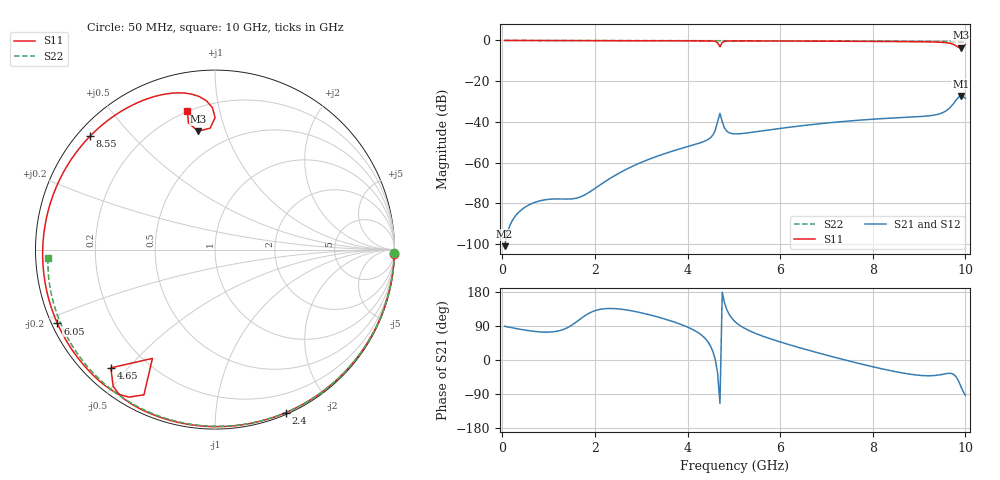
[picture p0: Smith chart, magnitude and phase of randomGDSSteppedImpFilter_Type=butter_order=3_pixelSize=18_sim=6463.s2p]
! freq	dB(S11)	phase(S11)	dB(S12)	phase(S12)
!  dB(S21)	phase(S21)	dB(S22)	phase(S22)
!S-par simulation data
#  GHz  S  DB  R 50
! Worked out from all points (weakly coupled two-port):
!   200 points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, 50 MHz to 10 GHz, reference 50 ohm
!   highest |S21| = -27.32 dB at 9.9 GHz (marker M1); lowest = -101.1 dB at 50 MHz (marker M2)
!   lowest |S11| = -3.5 dB at 9.9 GHz (marker M3), VSWR 5.00, Z = 17 + j40.4 ohm
!   |S11| at or under -10 dB: nowhere
!   |S22| runs from -0.6 to 0.0 dB; largest |S21 - S12| = 0
!   S11 on the Smith chart (normalised r, x): 50 MHz: 0, -79; 2.4 GHz: 0.02, -1.53; 4.65 GHz: 0.08, -0.45; 6.05 GHz: 0.02, -0.22; 8.55 GHz: 0.04, +0.39; 10 GHz: 0.20, +0.80
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0.05  -0.00 -1.4  -101.06 88.9  -101.06 88.9  -0.00 -1.0
0.65  -0.03 -18.5  -80.00 76.1  -80.00 76.1  -0.02 -13.1
0.85  -0.03 -24.2  -78.59 73.9  -78.59 73.9  -0.02 -17.1
1.75  -0.06 -49.1  -76.22 114.0  -76.22 114.0  -0.04 -34.8
2.4  -0.08 -66.5  -66.76 135.8  -66.76 135.8  -0.06 -47.3
3.4  -0.12 -92.2  -56.42 112.0  -56.42 112.0  -0.09 -65.9
4.45  -0.21 -119.7  -48.55 46.3  -48.55 46.3  -0.12 -84.6
4.55  -0.29 -123.7  -46.35 21.7  -46.35 21.7  -0.13 -86.3
4.65  -1.13 -131.4  -39.73 -35.1  -39.73 -35.1  -0.13 -88.1
4.7  -3.11 -119.9  -35.79 -114.4  -35.79 -114.4  -0.14 -88.9
4.75  -0.91 -116.1  -40.02 179.1  -40.02 179.1  -0.14 -89.7
4.85  -0.31 -123.0  -44.61 132.3  -44.61 132.3  -0.14 -91.5
5.05  -0.22 -129.8  -45.89 98.5  -45.89 98.5  -0.15 -94.9
6.05  -0.27 -154.9  -43.06 45.8  -43.06 45.8  -0.20 -111.6
6.7  -0.32 -171.0  -41.28 22.8  -41.28 22.8  -0.24 -122.2
7.55  -0.41 166.9  -39.44 -4.6  -39.44 -4.6  -0.31 -136.0
8.35  -0.51 143.9  -38.20 -27.3  -38.20 -27.3  -0.38 -149.1
8.55  -0.54 137.7  -37.96 -32.2  -37.96 -32.2  -0.40 -152.4
9.45  -0.87 105.5  -36.00 -39.1  -36.00 -39.1  -0.51 -167.6
9.75  -2.03 91.0  -30.81 -38.3  -30.81 -38.3  -0.57 -172.8
9.9  -3.52 98.2  -27.32 -69.1  -27.32 -69.1  -0.59 -175.4
10  -2.07 101.2  -28.37 -93.4  -28.37 -93.4  -0.59 -177.1
